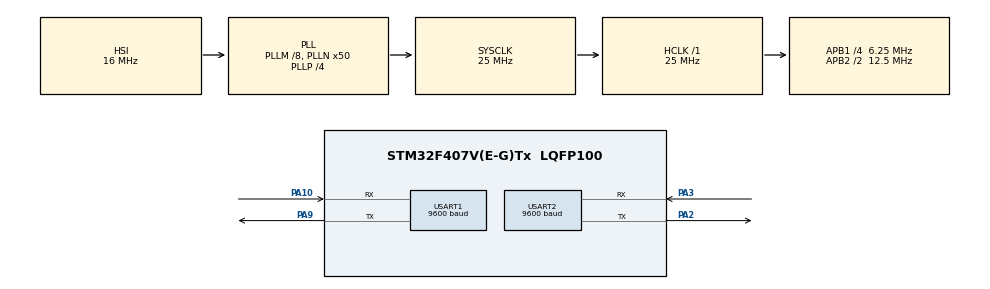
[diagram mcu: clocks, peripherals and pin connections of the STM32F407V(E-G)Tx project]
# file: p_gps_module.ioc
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Mcu.Family=STM32F4
Mcu.Name=STM32F407V(E-G)Tx
Mcu.Package=LQFP100
NVIC.PriorityGroup=NVIC_PRIORITYGROUP_0
NVIC.USART1_IRQn=true\:0\:0\:false\:false\:true\:true\:true\:true
PA10.Mode=Asynchronous
PA10.Signal=USART1_RX
PA2.Mode=Asynchronous
PA2.Signal=USART2_TX
PA3.Mode=Asynchronous
PA3.Signal=USART2_RX
PA9.Mode=Asynchronous
PA9.Signal=USART1_TX
ProjectManager.HeapSize=0x200
ProjectManager.StackSize=0x400
ProjectManager.TargetToolchain=STM32CubeIDE
RCC.48MHZClocksFreq_Value=14285714.285714285
RCC.AHBFreq_Value=25000000
RCC.APB1CLKDivider=RCC_HCLK_DIV4
RCC.APB1Freq_Value=6250000
RCC.APB1TimFreq_Value=12500000
RCC.APB2CLKDivider=RCC_HCLK_DIV2
RCC.APB2Freq_Value=12500000
RCC.APB2TimFreq_Value=25000000
RCC.CortexFreq_Value=25000000
RCC.HCLKFreq_Value=25000000
RCC.HSE_VALUE=8000000
RCC.HSI_VALUE=16000000
RCC.LSE_VALUE=32768
RCC.PLLM=8
RCC.PLLN=50
RCC.PLLP=RCC_PLLP_DIV4
RCC.PLLQ=7
RCC.SYSCLKFreq_VALUE=25000000
RCC.SYSCLKSource=RCC_SYSCLKSOURCE_PLLCLK
RCC.VCOOutputFreq_Value=100000000
USART1.BaudRate=9600
USART1.VirtualMode=VM_ASYNC
USART2.BaudRate=9600
USART2.VirtualMode=VM_ASYNC
board=STM32F407G-DISC1

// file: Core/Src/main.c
/* USER CODE BEGIN Header */
/**
  ******************************************************************************
  * @file           : main.c
  * @brief          : Main program body
  ******************************************************************************
  * @attention
  *
  * Copyright (c) 2026 STMicroelectronics.
  * All rights reserved.
  *
  * This software is licensed under terms that can be found in the LICENSE file
  * in the root directory of this software component.
  * If no LICENSE file comes with this software, it is provided AS-IS.
  *
  ******************************************************************************
  */
/* USER CODE END Header */
#include "main.h"

/* USER CODE BEGIN Includes */
#include <string.h>
#include <stdio.h>
/* USER CODE END Includes */

UART_HandleTypeDef huart1;
UART_HandleTypeDef huart2;

/* USER CODE BEGIN PV */

uint8_t gps_rx;
char gps_buffer[100];
uint16_t gps_index = 0;

/* USER CODE END PV */

void SystemClock_Config(void);
static void MX_GPIO_Init(void);
static void MX_USART1_UART_Init(void);
static void MX_USART2_UART_Init(void);

int main(void)
{

  /* MCU Configuration--------------------------------------------------------*/

  /* Reset of all peripherals, Initializes the Flash interface and the Systick. */
  HAL_Init();

  /* Configure the system clock */
  SystemClock_Config();

  /* Initialize all configured peripherals */
  MX_GPIO_Init();
  MX_USART1_UART_Init();
  MX_USART2_UART_Init();
  /* USER CODE BEGIN 2 */

  HAL_UART_Receive_IT(&huart1, &gps_rx, 1);

  /* USER CODE END 2 */

  /* Infinite loop */
  while (1)
  {

    /* USER CODE BEGIN 3 */

	  if(strlen(gps_buffer) > 0)
	  {
	      HAL_UART_Transmit(&huart2,
	                       (uint8_t*)gps_buffer,
	                       strlen(gps_buffer),
	                       1000);

	      HAL_UART_Transmit(&huart2,
	                       (uint8_t*)"\r\n",
	                       2,
	                       1000);

	      HAL_Delay(1000);
	  }
  }
  /* USER CODE END 3 */
}

void SystemClock_Config(void)
{
  RCC_OscInitTypeDef RCC_OscInitStruct = {0};
  RCC_ClkInitTypeDef RCC_ClkInitStruct = {0};

  /** Configure the main internal regulator output voltage
  */
  __HAL_RCC_PWR_CLK_ENABLE();
  __HAL_PWR_VOLTAGESCALING_CONFIG(PWR_REGULATOR_VOLTAGE_SCALE1);

  /** Initializes the RCC Oscillators according to the specified parameters
  * in the RCC_OscInitTypeDef structure.
  */
  RCC_OscInitStruct.OscillatorType = RCC_OSCILLATORTYPE_HSI;
  RCC_OscInitStruct.HSIState = RCC_HSI_ON;
  RCC_OscInitStruct.HSICalibrationValue = RCC_HSICALIBRATION_DEFAULT;
  RCC_OscInitStruct.PLL.PLLState = RCC_PLL_ON;
  RCC_OscInitStruct.PLL.PLLSource = RCC_PLLSOURCE_HSI;
  RCC_OscInitStruct.PLL.PLLM = 8;
  RCC_OscInitStruct.PLL.PLLN = 50;
  RCC_OscInitStruct.PLL.PLLP = RCC_PLLP_DIV4;
  RCC_OscInitStruct.PLL.PLLQ = 7;
  if (HAL_RCC_OscConfig(&RCC_OscInitStruct) != HAL_OK)
  {
    Error_Handler();
  }

  /** Initializes the CPU, AHB and APB buses clocks
  */
  RCC_ClkInitStruct.ClockType = RCC_CLOCKTYPE_HCLK|RCC_CLOCKTYPE_SYSCLK
                              |RCC_CLOCKTYPE_PCLK1|RCC_CLOCKTYPE_PCLK2;
  RCC_ClkInitStruct.SYSCLKSource = RCC_SYSCLKSOURCE_PLLCLK;
  RCC_ClkInitStruct.AHBCLKDivider = RCC_SYSCLK_DIV1;
  RCC_ClkInitStruct.APB1CLKDivider = RCC_HCLK_DIV4;
  RCC_ClkInitStruct.APB2CLKDivider = RCC_HCLK_DIV2;

  if (HAL_RCC_ClockConfig(&RCC_ClkInitStruct, FLASH_LATENCY_0) != HAL_OK)
  {
    Error_Handler();
  }
}

static void MX_USART1_UART_Init(void)
{

  huart1.Instance = USART1;
  huart1.Init.BaudRate = 9600;
  huart1.Init.WordLength = UART_WORDLENGTH_8B;
  huart1.Init.StopBits = UART_STOPBITS_1;
  huart1.Init.Parity = UART_PARITY_NONE;
  huart1.Init.Mode = UART_MODE_TX_RX;
  huart1.Init.HwFlowCtl = UART_HWCONTROL_NONE;
  huart1.Init.OverSampling = UART_OVERSAMPLING_16;
  if (HAL_UART_Init(&huart1) != HAL_OK)
  {
    Error_Handler();
  }

}

static void MX_USART2_UART_Init(void)
{

  huart2.Instance = USART2;
  huart2.Init.BaudRate = 9600;
  huart2.Init.WordLength = UART_WORDLENGTH_8B;
  huart2.Init.StopBits = UART_STOPBITS_1;
  huart2.Init.Parity = UART_PARITY_NONE;
  huart2.Init.Mode = UART_MODE_TX_RX;
  huart2.Init.HwFlowCtl = UART_HWCONTROL_NONE;
  huart2.Init.OverSampling = UART_OVERSAMPLING_16;
  if (HAL_UART_Init(&huart2) != HAL_OK)
  {
    Error_Handler();
  }

}

static void MX_GPIO_Init(void)
{

  /* GPIO Ports Clock Enable */
  __HAL_RCC_GPIOA_CLK_ENABLE();

}

/* USER CODE BEGIN 4 */
void HAL_UART_RxCpltCallback(UART_HandleTypeDef *huart)
{
    if(huart->Instance == USART1)
    {
        if(gps_rx != '\n')
        {
            gps_buffer[gps_index++] = gps_rx;

            if(gps_index >= sizeof(gps_buffer)-1)
            {
                gps_index = 0;
            }
        }
        else
        {
            gps_buffer[gps_index] = '\0';

            gps_index = 0;

            // Complete NMEA sentence received
        }

        HAL_UART_Receive_IT(&huart1, &gps_rx, 1);
    }
}
/* USER CODE END 4 */

void Error_Handler(void)
{
  __disable_irq();
  while (1)
  {
  }
}
